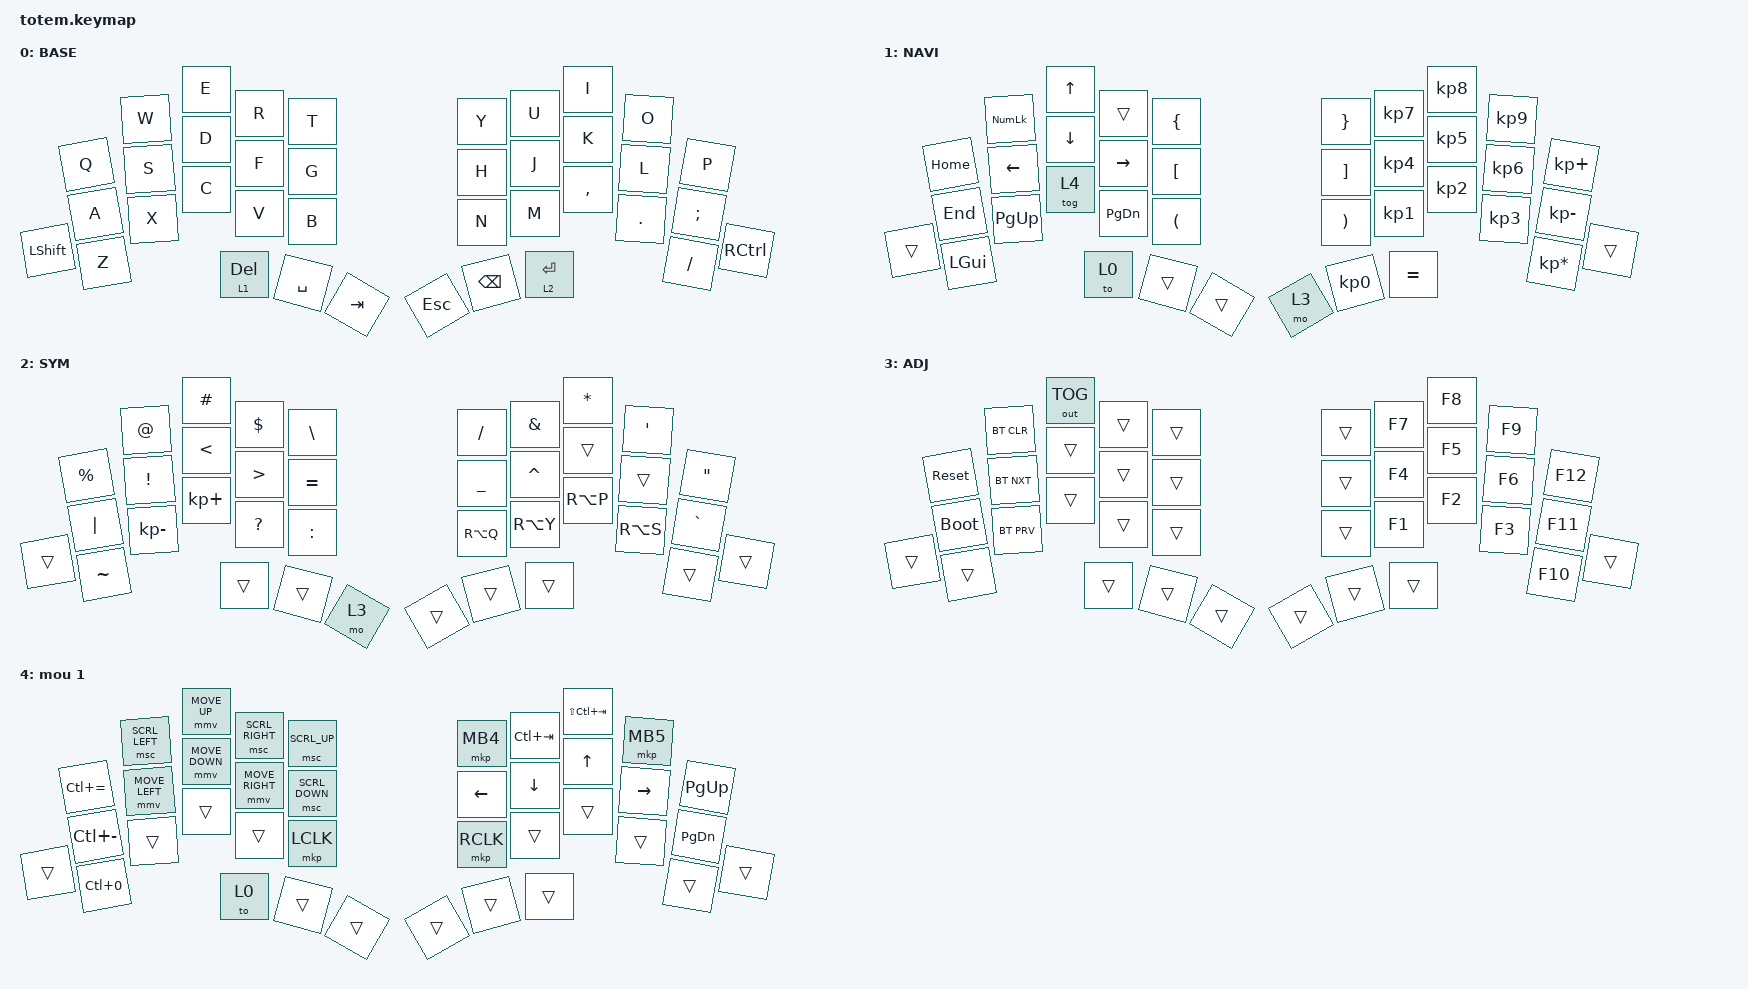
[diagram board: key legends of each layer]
//
//                                                        ▀▀▀▀▀     ▀▀▀▀▀          ▀▀█▀▀
//                                                        ▄▀▀▀▄  ▄  ▄▀▀▀▄  ▄  ▄▀▀▀▄  █  ▄▀▀▀▄
//                                                        █   █  █  █   █  █  █   █  █  █   █
//                                                         ▀▀▀   █   ▀▀▀   █   ▀▀▀   ▀   ▀▀▀
//                                                               █      ▄▄▄█▄▄▄    █   █  
//                                                               ▀      █  █  █     █▄█
//                                                             ▀▀▀▀▀    █  █  █      ▀
//                                                                      ▀  ▀  ▀
//
// ▄▄▄▄▄▄▄▄▄▄▄▄▄▄▄▄▄▄▄▄▄▄▄▄▄▄▄▄▄▄▄▄▄▄▄▄▄▄▄▄▄▄▄▄▄▄▄▄▄▄▄▄▄▄▄▄▄▄▄▄▄▄▄▄▄▄▄▄▄▄▄▄▄▄▄▄▄▄▄▄▄▄▄▄▄▄▄▄▄▄▄▄▄▄▄▄▄▄▄▄▄▄▄▄▄▄▄▄▄▄▄▄▄▄▄▄▄▄▄▄▄▄▄▄▄▄▄▄▄▄▄▄▄▄▄▄▄▄▄▄▄▄▄▄▄▄▄▄▄

#include <behaviors.dtsi>
#include <dt-bindings/zmk/bt.h>
#include <dt-bindings/zmk/keys.h>
#include <dt-bindings/zmk/outputs.h>
#include <dt-bindings/zmk/pointing.h>

#define BASE 0
#define NAV  1
#define SYM  2
#define ADJ  3
#define TVP1 4
#define TVP2 5

&mt {
    quick-tap-ms = <100>;
    global-quick-tap;
    flavor = "tap-preferred";
    tapping-term-ms = <170>;
};

&mmv {
    time-to-max-speed-ms = <680>;
    acceleration-exponent = <2>;
};

/ {
    combos {
        compatible = "zmk,combos";

        combo_tvp {
            timeout-ms = <100>;
            key-positions = <27 29 28>;
            bindings = <&tog 4>;
        };
    };

    macros {
        gif: gif {
            label = "giphy";
            compatible = "zmk,behavior-macro";
            #binding-cells = <0>;
            bindings =
                <&macro_press>,
                <&kp LSHFT>,
                <&macro_tap>,
                <&kp N2>,
                <&macro_release>,
                <&kp LSHFT>,
                <&macro_tap>,
                <&kp G &kp I &kp F>;
        };
    };

    keymap {
        compatible = "zmk,keymap";

        // ▄▄▄▄▄▄▄▄▄▄▄▄▄▄▄▄▄▄▄▄▄▄▄▄▄▄▄▄▄▄▄▄▄▄▄▄▄▄▄▄▄▄▄▄▄▄▄▄▄▄▄▄▄▄▄▄▄▄▄▄▄▄▄▄▄▄▄▄▄▄▄▄▄▄▄▄▄▄▄▄▄▄▄▄▄▄▄▄▄▄▄▄▄▄▄▄▄▄▄▄▄▄▄▄▄▄▄▄▄▄▄▄▄▄▄▄▄▄▄▄▄▄▄▄▄▄▄▄▄▄▄▄▄▄▄▄▄▄▄▄▄▄▄▄▄▄▄▄▄

        base_layer {
            // ┏━━━━━━━━━━━━━━━━━━━━━━━━━━━━━━━━━━━━━━━┓

            label = "BASE";

            // ┗━━━━━━━━━━━━━━━━━━━━━━━━━━━━━━━━━━━━━━━┛
            //             ┏━━━━━━━━━━━┳━━━━━━━━━━━┳━━━━━━━━━━━┳━━━━━━━━━━━┳━━━━━━━━━━━┓   ┏━━━━━━━━━━━┳━━━━━━━━━━━┳━━━━━━━━━━━┳━━━━━━━━━━━┳━━━━━━━━━━━┓
            //             ┃     Q     ┃     W     ┃     F     ┃     P     ┃     G     ┃   ┃     J     ┃     L     ┃     U     ┃     Y     ┃     ;     ┃
            //             ┣━━━━━━━━━━━╋━━━━━━━━━━━╋━━━━━━━━━━━╋━━━━━━━━━━━╋━━━━━━━━━━━┫   ┣━━━━━━━━━━━╋━━━━━━━━━━━╋━━━━━━━━━━━╋━━━━━━━━━━━╋━━━━━━━━━━━┫
            //             ┃     A     ┃     R     ┃     S     ┃     T     ┃     D     ┃   ┃     H     ┃     N     ┃     E     ┃     I     ┃     O     ┃
            // ┏━━━━━━━━━━━╋━━━━━━━━━━━╋━━━━━━━━━━━╋━━━━━━━━━━━╋━━━━━━━━━━━╋━━━━━━━━━━━┫   ┣━━━━━━━━━━━╋━━━━━━━━━━━╋━━━━━━━━━━━╋━━━━━━━━━━━╋━━━━━━━━━━━╋━━━━━━━━━━━┓
            // ┃     Q     ┃     Z     ┃     X     ┃     C     ┃     V     ┃     B     ┃   ┃     K     ┃     M     ┃     ,     ┃     .     ┃     /     ┃     \     ┃
            // ┗━━━━━━━━━━━┻━━━━━━━━━━━┻━━━━━━━━━━━╋━━━━━━━━━━━╋━━━━━━━━━━━╋━━━━━━━━━━━┫   ┣━━━━━━━━━━━╋━━━━━━━━━━━╋━━━━━━━━━━━╋━━━━━━━━━━━┻━━━━━━━━━━━┻━━━━━━━━━━━┛
            //                                     ┃    DEL    ┃    TAB    ┃    SPC    ┃   ┃   ENTER   ┃           ┃   BSPC    ┃
            //                                     ┗━━━━━━━━━━━┻━━━━━━━━━━━┻━━━━━━━━━━━┛   ┗━━━━━━━━━━━┻━━━━━━━━━━━┻━━━━━━━━━━━┛

            bindings = <
            &kp Q  &kp W  &kp E      &kp R      &kp T      &kp Y    &kp U          &kp I        &kp O    &kp P
            &kp A  &kp S  &kp D      &kp F      &kp G      &kp H    &kp J          &kp K        &kp L    &kp SEMICOLON
&kp LSHIFT  &kp Z  &kp X  &kp C      &kp V      &kp B      &kp N    &kp M          &kp COMMA    &kp DOT  &kp FSLH       &kp RCTRL
                          &lt 1 DEL  &kp SPACE  &kp TAB    &kp ESC  &kp BACKSPACE  &lt 2 ENTER
            >;
        };

        // ▄▄▄▄▄▄▄▄▄▄▄▄▄▄▄▄▄▄▄▄▄▄▄▄▄▄▄▄▄▄▄▄▄▄▄▄▄▄▄▄▄▄▄▄▄▄▄▄▄▄▄▄▄▄▄▄▄▄▄▄▄▄▄▄▄▄▄▄▄▄▄▄▄▄▄▄▄▄▄▄▄▄▄▄▄▄▄▄▄▄▄▄▄▄▄▄▄▄▄▄▄▄▄▄▄▄▄▄▄▄▄▄▄▄▄▄▄▄▄▄▄▄▄▄▄▄▄▄▄▄▄▄▄▄▄▄▄▄▄▄▄▄▄▄▄▄▄▄▄

        nav_layer {
            // ┏━━━━━━━━━━━━━━━━━━━━━━━━━━━━━━━━━━━━━━━┓

            label = "NAVI";

            // ┗━━━━━━━━━━━━━━━━━━━━━━━━━━━━━━━━━━━━━━━┛
            //             ┏━━━━━━━━━━━┳━━━━━━━━━━━┳━━━━━━━━━━━┳━━━━━━━━━━━┳━━━━━━━━━━━┓   ┏━━━━━━━━━━━┳━━━━━━━━━━━┳━━━━━━━━━━━┳━━━━━━━━━━━┳━━━━━━━━━━━┓
            //             ┃           ┃           ┃     UP    ┃           ┃     {     ┃   ┃     }     ┃     7     ┃     8     ┃     9     ┃     +     ┃
            //             ┣━━━━━━━━━━━╋━━━━━━━━━━━╋━━━━━━━━━━━╋━━━━━━━━━━━╋━━━━━━━━━━━┫   ┣━━━━━━━━━━━╋━━━━━━━━━━━╋━━━━━━━━━━━╋━━━━━━━━━━━╋━━━━━━━━━━━┫
            //             ┃   SHIFT   ┃   LEFT    ┃    DOWN   ┃   RIGHT   ┃     [     ┃   ┃     ]     ┃     4     ┃     5     ┃     6     ┃     -     ┃
            // ┏━━━━━━━━━━━╋━━━━━━━━━━━╋━━━━━━━━━━━╋━━━━━━━━━━━╋━━━━━━━━━━━╋━━━━━━━━━━━┫   ┣━━━━━━━━━━━╋━━━━━━━━━━━╋━━━━━━━━━━━╋━━━━━━━━━━━╋━━━━━━━━━━━╋━━━━━━━━━━━┓
            // ┃           ┃           ┃   P UP    ┃  C LOCK   ┃  P DOWN   ┃     (     ┃   ┃     )     ┃     1     ┃     2     ┃     3     ┃     *     ┃           ┃
            // ┗━━━━━━━━━━━┻━━━━━━━━━━━┻━━━━━━━━━━━╋━━━━━━━━━━━╋━━━━━━━━━━━╋━━━━━━━━━━━┫   ┣━━━━━━━━━━━╋━━━━━━━━━━━╋━━━━━━━━━━━╋━━━━━━━━━━━┻━━━━━━━━━━━┻━━━━━━━━━━━┛
            //                                     ┃           ┃    TAB    ┃    SPC    ┃   ┃    DEL    ┃     0     ┃           ┃
            //                                     ┗━━━━━━━━━━━┻━━━━━━━━━━━┻━━━━━━━━━━━┛   ┗━━━━━━━━━━━┻━━━━━━━━━━━┻━━━━━━━━━━━┛

            bindings = <
        &kp HOME      &kp KP_NUMLOCK  &kp UP    &trans     &kp LBRC    &kp RBRC  &kp KP_N7  &kp KP_N8  &kp KP_N9  &kp KP_PLUS
        &kp END       &kp LEFT        &kp DOWN  &kp RIGHT  &kp LBKT    &kp RBKT  &kp KP_N4  &kp KP_N5  &kp KP_N6  &kp KP_MINUS
&trans  &kp LEFT_GUI  &kp PG_UP       &tog 4    &kp PG_DN  &kp LPAR    &kp RPAR  &kp KP_N1  &kp KP_N2  &kp KP_N3  &kp KP_MULTIPLY  &trans
                                      &to 0     &trans     &trans      &mo 3     &kp KP_N0  &kp EQUAL
            >;
        };

        // ▄▄▄▄▄▄▄▄▄▄▄▄▄▄▄▄▄▄▄▄▄▄▄▄▄▄▄▄▄▄▄▄▄▄▄▄▄▄▄▄▄▄▄▄▄▄▄▄▄▄▄▄▄▄▄▄▄▄▄▄▄▄▄▄▄▄▄▄▄▄▄▄▄▄▄▄▄▄▄▄▄▄▄▄▄▄▄▄▄▄▄▄▄▄▄▄▄▄▄▄▄▄▄▄▄▄▄▄▄▄▄▄▄▄▄▄▄▄▄▄▄▄▄▄▄▄▄▄▄▄▄▄▄▄▄▄▄▄▄▄▄▄▄▄▄▄▄▄▄

        sim_layer {
            // ┏━━━━━━━━━━━━━━━━━━━━━━━━━━━━━━━━━━━━━━━┓

            label = "SYM";

            // ┗━━━━━━━━━━━━━━━━━━━━━━━━━━━━━━━━━━━━━━━┛
            //             ┏━━━━━━━━━━━┳━━━━━━━━━━━┳━━━━━━━━━━━┳━━━━━━━━━━━┳━━━━━━━━━━━┓   ┏━━━━━━━━━━━┳━━━━━━━━━━━┳━━━━━━━━━━━┳━━━━━━━━━━━┳━━━━━━━━━━━┓
            //             ┃     !     ┃     @     ┃     #     ┃     $     ┃     %     ┃   ┃     ˆ     ┃     &     ┃     Ü     ┃     '     ┃     "     ┃
            //             ┣━━━━━━━━━━━╋━━━━━━━━━━━╋━━━━━━━━━━━╋━━━━━━━━━━━╋━━━━━━━━━━━┫   ┣━━━━━━━━━━━╋━━━━━━━━━━━╋━━━━━━━━━━━╋━━━━━━━━━━━╋━━━━━━━━━━━┫
            //             ┃     Ä     ┃           ┃    SZ     ┃           ┃           ┃   ┃   MUTE    ┃   YEN     ┃   EURO    ┃  POUND    ┃     Ö     ┃
            // ┏━━━━━━━━━━━╋━━━━━━━━━━━╋━━━━━━━━━━━╋━━━━━━━━━━━╋━━━━━━━━━━━╋━━━━━━━━━━━┫   ┣━━━━━━━━━━━╋━━━━━━━━━━━╋━━━━━━━━━━━╋━━━━━━━━━━━╋━━━━━━━━━━━╋━━━━━━━━━━━┓
            // ┃           ┃  EMAIL1   ┃  EMAIL2   ┃           ┃           ┃           ┃   ┃   VOL-    ┃   VOL+    ┃   LAST    ┃   NEXT    ┃     \     ┃           ┃
            // ┗━━━━━━━━━━━┻━━━━━━━━━━━┻━━━━━━━━━━━╋━━━━━━━━━━━╋━━━━━━━━━━━╋━━━━━━━━━━━┫   ┣━━━━━━━━━━━╋━━━━━━━━━━━╋━━━━━━━━━━━╋━━━━━━━━━━━┻━━━━━━━━━━━┻━━━━━━━━━━━┛
            //                                     ┃           ┃    GIF    ┃    ADJ    ┃   ┃           ┃           ┃           ┃
            //                                     ┗━━━━━━━━━━━┻━━━━━━━━━━━┻━━━━━━━━━━━┛   ┗━━━━━━━━━━━┻━━━━━━━━━━━┻━━━━━━━━━━━┛

            bindings = <
        &kp PRCNT  &kp AT        &kp HASH     &kp DLLR   &kp BACKSLASH    &kp FSLH        &kp AMPS   &kp ASTERISK  &kp SQT    &kp DQT
        &kp PIPE   &kp EXCL      &kp LT       &kp GT     &kp EQUAL        &kp UNDERSCORE  &kp CARET  &trans        &trans     &kp GRAVE
&trans  &kp TILDE  &kp KP_MINUS  &kp KP_PLUS  &kp QMARK  &kp COLON        &kp RA(Q)       &kp RA(Y)  &kp RA(P)     &kp RA(S)  &trans     &trans
                                 &trans       &trans     &mo 3            &trans          &trans     &trans
            >;
        };

        // ▄▄▄▄▄▄▄▄▄▄▄▄▄▄▄▄▄▄▄▄▄▄▄▄▄▄▄▄▄▄▄▄▄▄▄▄▄▄▄▄▄▄▄▄▄▄▄▄▄▄▄▄▄▄▄▄▄▄▄▄▄▄▄▄▄▄▄▄▄▄▄▄▄▄▄▄▄▄▄▄▄▄▄▄▄▄▄▄▄▄▄▄▄▄▄▄▄▄▄▄▄▄▄▄▄▄▄▄▄▄▄▄▄▄▄▄▄▄▄▄▄▄▄▄▄▄▄▄▄▄▄▄▄▄▄▄▄▄▄▄▄▄▄▄▄▄▄▄▄

        adjust_layer {
            // ┏━━━━━━━━━━━━━━━━━━━━━━━━━━━━━━━━━━━━━━━┓

            label = "ADJ";

            // ┗━━━━━━━━━━━━━━━━━━━━━━━━━━━━━━━━━━━━━━━┛
            //             ┏━━━━━━━━━━━┳━━━━━━━━━━━┳━━━━━━━━━━━┳━━━━━━━━━━━┳━━━━━━━━━━━┓   ┏━━━━━━━━━━━┳━━━━━━━━━━━┳━━━━━━━━━━━┳━━━━━━━━━━━┳━━━━━━━━━━━┓
            //             ┃   RESET   ┃ BT CLEAR  ┃  OUT TOG  ┃           ┃           ┃   ┃           ┃    F7     ┃    F8     ┃    F9     ┃    F12    ┃
            //             ┣━━━━━━━━━━━╋━━━━━━━━━━━╋━━━━━━━━━━━╋━━━━━━━━━━━╋━━━━━━━━━━━┫   ┣━━━━━━━━━━━╋━━━━━━━━━━━╋━━━━━━━━━━━╋━━━━━━━━━━━╋━━━━━━━━━━━┫
            //             ┃ BOOTLOAD  ┃ BT NEXT   ┃           ┃           ┃           ┃   ┃           ┃    F4     ┃    F5     ┃    F6     ┃    F11    ┃
            // ┏━━━━━━━━━━━╋━━━━━━━━━━━╋━━━━━━━━━━━╋━━━━━━━━━━━╋━━━━━━━━━━━╋━━━━━━━━━━━┫   ┣━━━━━━━━━━━╋━━━━━━━━━━━╋━━━━━━━━━━━╋━━━━━━━━━━━╋━━━━━━━━━━━╋━━━━━━━━━━━┓
            // ┃           ┃           ┃ BT PREV   ┃           ┃           ┃           ┃   ┃           ┃    F1     ┃    F2     ┃    F3     ┃    F10    ┃           ┃
            // ┗━━━━━━━━━━━┻━━━━━━━━━━━┻━━━━━━━━━━━╋━━━━━━━━━━━╋━━━━━━━━━━━╋━━━━━━━━━━━┫   ┣━━━━━━━━━━━╋━━━━━━━━━━━╋━━━━━━━━━━━╋━━━━━━━━━━━┻━━━━━━━━━━━┻━━━━━━━━━━━┛
            //                                     ┃           ┃           ┃           ┃   ┃           ┃           ┃           ┃
            //                                     ┗━━━━━━━━━━━┻━━━━━━━━━━━┻━━━━━━━━━━━┛   ┗━━━━━━━━━━━┻━━━━━━━━━━━┻━━━━━━━━━━━┛

            bindings = <
        &sys_reset   &bt BT_CLR  &out OUT_TOG  &trans  &trans    &trans  &kp F7  &kp F8  &kp F9  &kp F12
        &bootloader  &bt BT_NXT  &trans        &trans  &trans    &trans  &kp F4  &kp F5  &kp F6  &kp F11
&trans  &trans       &bt BT_PRV  &trans        &trans  &trans    &trans  &kp F1  &kp F2  &kp F3  &kp F10  &trans
                                 &trans        &trans  &trans    &trans  &trans  &trans
            >;
        };

        // ▄▄▄▄▄▄▄▄▄▄▄▄▄▄▄▄▄▄▄▄▄▄▄▄▄▄▄▄▄▄▄▄▄▄▄▄▄▄▄▄▄▄▄▄▄▄▄▄▄▄▄▄▄▄▄▄▄▄▄▄▄▄▄▄▄▄▄▄▄▄▄▄▄▄▄▄▄▄▄▄▄▄▄▄▄▄▄▄▄▄▄▄▄▄▄▄▄▄▄▄▄▄▄▄▄▄▄▄▄▄▄▄▄▄▄▄▄▄▄▄▄▄▄▄▄▄▄▄▄▄▄▄▄▄▄▄▄▄▄▄▄▄▄▄▄▄▄▄▄

        mouse_layer {
            // ┏━━━━━━━━━━━━━━━━━━━━━━━━━━━━━━━━━━━━━━━┓

            label = "mou 1";

            // ┗━━━━━━━━━━━━━━━━━━━━━━━━━━━━━━━━━━━━━━━┛
            //             ┏━━━━━━━━━━━┳━━━━━━━━━━━┳━━━━━━━━━━━┳━━━━━━━━━━━┳━━━━━━━━━━━┓   ┏━━━━━━━━━━━┳━━━━━━━━━━━┳━━━━━━━━━━━┳━━━━━━━━━━━┳━━━━━━━━━━━┓
            //             ┃ NEXT FILE ┃ MARK IN   ┃ ROTATE    ┃ MARK OUT  ┃ SHOW SNAP ┃   ┃           ┃           ┃           ┃           ┃           ┃
            //             ┣━━━━━━━━━━━╋━━━━━━━━━━━╋━━━━━━━━━━━╋━━━━━━━━━━━╋━━━━━━━━━━━┫   ┣━━━━━━━━━━━╋━━━━━━━━━━━╋━━━━━━━━━━━╋━━━━━━━━━━━╋━━━━━━━━━━━┫
            //             ┃ TVP II    ┃ LEFT      ┃ PAN       ┃ RIGHT     ┃ PLAY/FLIP ┃   ┃           ┃           ┃           ┃           ┃           ┃
            // ┏━━━━━━━━━━━╋━━━━━━━━━━━╋━━━━━━━━━━━╋━━━━━━━━━━━╋━━━━━━━━━━━╋━━━━━━━━━━━┫   ┣━━━━━━━━━━━╋━━━━━━━━━━━╋━━━━━━━━━━━╋━━━━━━━━━━━╋━━━━━━━━━━━╋━━━━━━━━━━━┓
            // ┃ FULLSCR   ┃ SHIFT     ┃ COPY      ┃ DELETE    ┃ PASTE     ┃ IMG MARK  ┃   ┃           ┃           ┃           ┃           ┃           ┃           ┃
            // ┗━━━━━━━━━━━┻━━━━━━━━━━━┻━━━━━━━━━━━╋━━━━━━━━━━━╋━━━━━━━━━━━╋━━━━━━━━━━━┫   ┣━━━━━━━━━━━╋━━━━━━━━━━━╋━━━━━━━━━━━╋━━━━━━━━━━━┻━━━━━━━━━━━┻━━━━━━━━━━━┛
            //                                     ┃           ┃ UNDO/SAVE ┃  SEL/MOV  ┃   ┃           ┃           ┃           ┃
            //                                     ┗━━━━━━━━━━━┻━━━━━━━━━━━┻━━━━━━━━━━━┛   ┗━━━━━━━━━━━┻━━━━━━━━━━━┻━━━━━━━━━━━┛

            bindings = <
        &kp LC(EQUAL)  &msc SCRL_LEFT  &mmv MOVE_UP    &msc SCRL_RIGHT  &msc SCRL_UP      &mkp MB4   &kp LC(TAB)  &kp LS(LC(TAB))  &mkp MB5   &kp PG_UP
        &kp LC(MINUS)  &mmv MOVE_LEFT  &mmv MOVE_DOWN  &mmv MOVE_RIGHT  &msc SCRL_DOWN    &kp LEFT   &kp DOWN     &kp UP_ARROW     &kp RIGHT  &kp PG_DN
&trans  &kp LC(N0)     &trans          &trans          &trans           &mkp LCLK         &mkp RCLK  &trans       &trans           &trans     &trans     &trans
                                       &to 0           &trans           &trans            &trans     &trans       &trans
            >;
        };

        // ▄▄▄▄▄▄▄▄▄▄▄▄▄▄▄▄▄▄▄▄▄▄▄▄▄▄▄▄▄▄▄▄▄▄▄▄▄▄▄▄▄▄▄▄▄▄▄▄▄▄▄▄▄▄▄▄▄▄▄▄▄▄▄▄▄▄▄▄▄▄▄▄▄▄▄▄▄▄▄▄▄▄▄▄▄▄▄▄▄▄▄▄▄▄▄▄▄▄▄▄▄▄▄▄▄▄▄▄▄▄▄▄▄▄▄▄▄▄▄▄▄▄▄▄▄▄▄▄▄▄▄▄▄▄▄▄▄▄▄▄▄▄▄▄▄▄▄▄▄
    };
};
